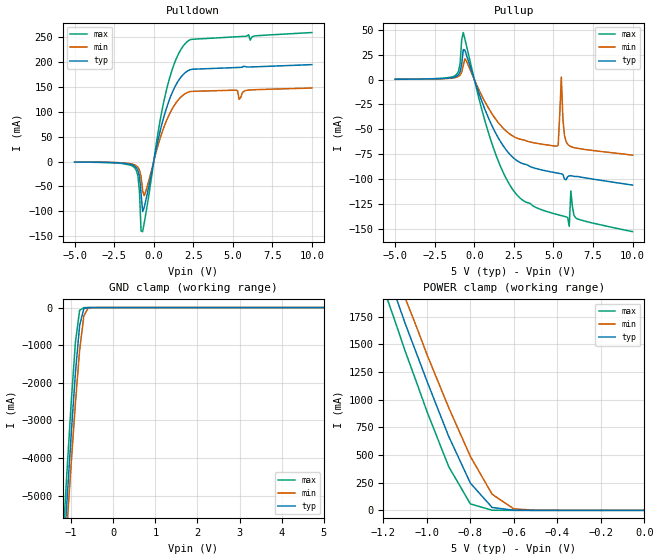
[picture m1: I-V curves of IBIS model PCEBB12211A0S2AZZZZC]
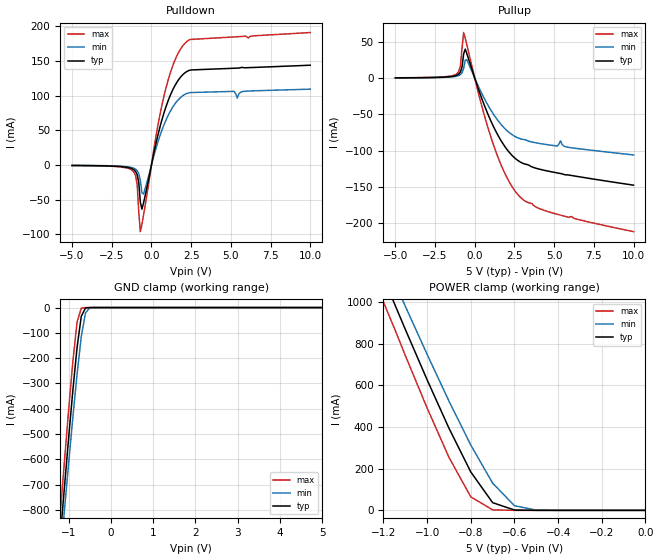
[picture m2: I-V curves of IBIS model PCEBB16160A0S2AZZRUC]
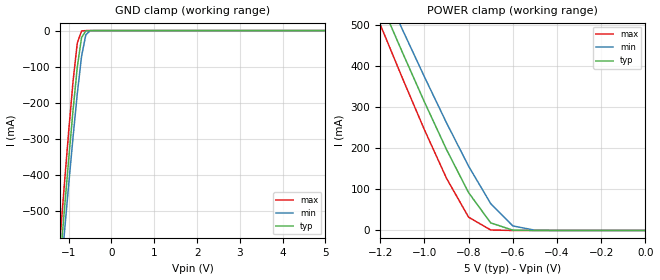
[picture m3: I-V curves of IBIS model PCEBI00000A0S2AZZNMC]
[IBIS Ver]   1.1
[File name]   82375sb.ibs
[File Rev]   1.01
[Date]   08/09/95
[Source]   File originated at Intel Corporation.
[Notes]   The following information corresponds to the PCEB chip.
[Disclaimer]   This information is for modeling purposes only and is not
   guaranteed.
[Disclaimer]   IBIS Open Forum disclaims all warranties. See DISCLAIM.TXT
   in vhdl.org:/pub/IBIS/models for the full disclaimer.
[Component]   82375SB
[Manufacturer]  Intel Corporation
[Package]
|   typ   min   max
R_pkg   159.5m   42.0m   277.0m
L_pkg   12.13nH   9.50nH   14.76nH
C_pkg   1.86pF   1.61pF   2.11pF
[Pin]   signal_name   model_name   R_pin   L_pin   C_pin
1   VDD   POWER
2   VSS   GND
3   LA31   PCEBB12211A0S2AZZZZC
4   LA30   PCEBB12211A0S2AZZZZC
5   LA29   PCEBB12211A0S2AZZZZC
6   LA28   PCEBB12211A0S2AZZZZC
7   LA27   PCEBB12211A0S2AZZZZC
8   LA26   PCEBB12211A0S2AZZZZC
9   VSS   GND
10   LA25   PCEBB12211A0S2AZZZZC
11   LA24   PCEBB12211A0S2AZZZZC
12   LA16   PCEBB12211A0S2AZZZZC
13   LA15   PCEBB12211A0S2AZZZZC
14   VDD   POWER
15   LA14   PCEBB12211A0S2AZZZZC
16   LA13   PCEBB12211A0S2AZZZZC
17   LA12   PCEBB12211A0S2AZZZZC
18   VSS   GND
19   LA11   PCEBB12211A0S2AZZZZC
20   LA10   PCEBB12211A0S2AZZZZC
21   LA9   PCEBB12211A0S2AZZZZC
22   LA8   PCEBB12211A0S2AZZZZC
23   LA7   PCEBB12211A0S2AZZZZC
24   LA6   PCEBB12211A0S2AZZZZC
25   VDD   POWER
26   VSS   GND
27   VSS23   GND
28   LA5   PCEBB12211A0S2AZZZZC
29   LA4   PCEBB12211A0S2AZZZZC
30   LA23   PCEBB12211A0S2AZZZZC
31   LA3   PCEBB12211A0S2AZZZZC
32   LA22   PCEBB12211A0S2AZZZZC
33   LA2   PCEBB12211A0S2AZZZZC
34   LA21   PCEBB12211A0S2AZZZZC
35   VSS   GND
36   LA20   PCEBB12211A0S2AZZZZC
37   SD16   PCEBB16160A0S2AZZRUC
38   SD17   PCEBB16160A0S2AZZRUC
39   VDD   POWER
40   LA19   PCEBB12211A0S2AZZZZC
41   SD18   PCEBB16160A0S2AZZRUC
42   SD19   PCEBB16160A0S2AZZRUC
43   LA18   PCEBB12211A0S2AZZZZC
44   SD20   PCEBB16160A0S2AZZRUC
45   LA17   PCEBB12211A0S2AZZZZC
46   VSS   GND
47   SD21   PCEBB16160A0S2AZZRUC
48   SD22   PCEBB16160A0S2AZZRUC
49   SD23   PCEBB16160A0S2AZZRUC
50   SD24   PCEBB16160A0S2AZZRUC
51   SD25   PCEBB16160A0S2AZZRUC
52   VDD3   POWER
53   VDD   POWER
54   VSS   GND
55   SD8   PCEBB16160A0S2AZZRUC
56   SD26   PCEBB16160A0S2AZZRUC
57   SD9   PCEBB16160A0S2AZZRUC
58   SD27   PCEBB16160A0S2AZZRUC
59   SD28   PCEBB16160A0S2AZZRUC
60   SD10   PCEBB16160A0S2AZZRUC
61   SD11   PCEBB16160A0S2AZZRUC
62   VSS   GND
63   VDD   POWER
64   SD29   PCEBB16160A0S2AZZRUC
65   SD12   PCEBB16160A0S2AZZRUC
66   SD30   PCEBB16160A0S2AZZRUC
67   SD13   PCEBB16160A0S2AZZRUC
68   SD31   PCEBB16160A0S2AZZRUC
69   SD14   PCEBB16160A0S2AZZRUC
70   SD15   PCEBB16160A0S2AZZRUC
71   REQ0#   PCEBI00000A0S2AZZNMC
72   REQ1#   PCEBI00000A0S2AZZNMC
73   REQ2#   PCEBI00000A0S2AZZNMC
74   REQ3#   PCEBI00000A0S2AZZNMC
75   CPUREQ#   PCEBI00000A0S2AZZNMC
76   CPUGNT#   PCEBT08080AXXXXZZKMB
77   VSS23   GND
78   VSS   GND
79   VDD   POWER
80   GNT3#   PCEBT08080AXXXXZZKMB
81   GNT2#   PCEBT08080AXXXXZZKMB
82   GNT1#   PCEBT08080AXXXXZZKMB
83   GNT0#   PCEBT08080AXXXXZZKMB
84   VSS   GND
85   FLUSHREQ#   PCEBT08080AXXXXZZKMB
86   MEMACK#   PCEBI00000A0S2AZZNMC
87   MEMREQ#   PCEBT08080AXXXXZZKMB
88   MEMCS#   PCEBT08080AXXXXZZKMB
89   PIODEC#   PCEBI00000A0S2AZZNMC
90   TEST#   PCEBI00000A0S2AZZNMC
91   PCICLK   PCEBI00000A0S2AZZNMC
92   IDSEL   PCEBI00000A0S2AZZNMC
93   PCIRST#   PCEBI00000A0S2AZZNMC
94   VDD   POWER
95   VSS   GND
96   NC   NC
97   AD31   PCEBB12211A0S2AZZZZC
98   AD30   PCEBB12211A0S2AZZZZC
99   AD29   PCEBB12211A0S2AZZZZC
100   AD28   PCEBB12211A0S2AZZZZC
101   AD27   PCEBB12211A0S2AZZZZC
102   AD26   PCEBB12211A0S2AZZZZC
103   VSS   GND
104   VDD   POWER
105   VDD3   POWER
106   NC   NC
107   AD25   PCEBB12211A0S2AZZZZC
108   AD24   PCEBB12211A0S2AZZZZC
109   C/BE3#   PCEBB12211A0S2AZZZZC
110   AD23   PCEBB12211A0S2AZZZZC
111   AD22   PCEBB12211A0S2AZZZZC
112   AD21   PCEBB12211A0S2AZZZZC
113   VSS   GND
114   AD20   PCEBB12211A0S2AZZZZC
115   AD19   PCEBB12211A0S2AZZZZC
116   VDD   POWER
117   AD18   PCEBB12211A0S2AZZZZC
118   AD17   PCEBB12211A0S2AZZZZC
119   AD16   PCEBB12211A0S2AZZZZC
120   C/BE2#   PCEBB12211A0S2AZZZZC
121   VSS   GND
122   FRAME#   PCEBB12211A0S2AZZZZC
123   IRDY#   PCEBB12211A0S2AZZZZC
124   TRDY#   PCEBB12211A0S2AZZZZC
125   DEVSEL#   PCEBB12211A0S2AZZZZC
126   STOP#   PCEBB12211A0S2AZZZZC
127   PCILOCK#   PCEBB12211A0S2AZZZZC
128   PERR#   PCEBB12211A0S2AZZZZC
129   VSS23   GND
130   VSS   GND
131   VDD   POWER
132   NC   NC
133   NC   NC
134   PAR   PCEBB12211A0S2AZZZZC
135   C/BE1#   PCEBB12211A0S2AZZZZC
136   AD15   PCEBB12211A0S2AZZZZC
137   AD14   PCEBB12211A0S2AZZZZC
138   AD13   PCEBB12211A0S2AZZZZC
139   AD12   PCEBB12211A0S2AZZZZC
140   VSS   GND
141   AD11   PCEBB12211A0S2AZZZZC
142   AD10   PCEBB12211A0S2AZZZZC
143   AD9   PCEBB12211A0S2AZZZZC
144   C/BE0#   PCEBB12211A0S2AZZZZC
145   VDD   POWER
146   AD8   PCEBB12211A0S2AZZZZC
147   AD7   PCEBB12211A0S2AZZZZC
148   AD6   PCEBB12211A0S2AZZZZC
149   VSS   GND
150   AD5   PCEBB12211A0S2AZZZZC
151   AD4   PCEBB12211A0S2AZZZZC
152   AD3   PCEBB12211A0S2AZZZZC
153   AD2   PCEBB12211A0S2AZZZZC
154   AD1   PCEBB12211A0S2AZZZZC
155   AD0   PCEBB12211A0S2AZZZZC
156   VDD3   POWER
157   VDD   POWER
158   VSS   GND
159   STOPGNT#   PCEBT08081AXXXXZZKMB
160   REFRESH#   PCEBI00000A0S2AZZNMC
161   AFLUSH#   PCEBB08080A0S2AZZKMB
162   EISAHOLD   PCEBI00000A1K3KZZNMC
163   EISAHLDA   PCEBO08081AXXXXZZKMB
164   PEREQ#   PCEBT08080AXXXXZZKMB
165   NMFLUSH#   PCEBB08080A0S2AZZKMB
166   LOCK#   PCEBB12211A0S2AZZZZC
167   BCLK   PCEBI00000A0S2AZZNMC
168   IO16#   PCEBB16160A0S2AZZRUC
169   CMD#   PCEBI00000A0S2AZZNMC
170   START#   PCEBB12211A0S2AZZZZC
171   EXRDY   PCEBB12211A0S2AZZZZC
172   EX32#   PCEBB16160A0S2AZZRUC
173   EX16#   PCEBI00000A0S2AZZNMC
174   SLBURST#   PCEBB12211A0S2AZZZZC
175   SDLE3#   PCEBI00000A1K3KZZNMC
176   SDLE2#   PCEBI00000A1K3KZZNMC
177   SDLE1#   PCEBI00000A1K3KZZNMC
178   SDLE0#   PCEBI00000A1K3KZZNMC
179   SDCPYEN01#  PCEBI00000A1K3KZZNMC
180   SDCPYEN02#  PCEBI00000A1K3KZZNMC
181   VDD   POWER
182   VSS   GND
183   VSS23   GND
184   SDCPYEN03#  PCEBI00000A1K3KZZNMC
185   SDCPYEN13#  PCEBI00000A1K3KZZNMC
186   SDCPYUP   PCEBI00000A1K3KZZNMC
187   SDOE0#   PCEBI00000A0S2AZZVTC
188   SDOE1#   PCEBI00000A0S2AZZVTC
189   SDOE2#   PCEBI00000A0S2AZZVTC
190   MSBURST#   PCEBB12211A0S2AZZZZC
191   M/IO#   PCEBB12211A0S2AZZZZC
192   W/R#   PCEBB12211A0S2AZZZZC
193   VDD   POWER
194   VSS   GND
195   SD7   PCEBB16160A0S2AZZRUC
196   SD6   PCEBB16160A0S2AZZRUC
197   SD5   PCEBB16160A0S2AZZRUC
198   SD4   PCEBB16160A0S2AZZRUC
199   SD3   PCEBB16160A0S2AZZRUC
200   VSS   GND
201   SD2   PCEBB16160A0S2AZZRUC
202   SD1   PCEBB16160A0S2AZZRUC
203   SD0   PCEBB16160A0S2AZZRUC
204   BE3#   PCEBB12211A0S2AZZZZC
205   BE2#   PCEBB12211A0S2AZZZZC
206   BE1#   PCEBB12211A0S2AZZZZC
207   BE0#   PCEBB12211A0S2AZZZZC
208   VDD3   POWER
| Models and submodels in the file (9): PCEBB12211A0S2AZZZZC (I/O), PCEBB16160A0S2AZZRUC (I/O), PCEBI00000A0S2AZZNMC (Input), PCEBT08080AXXXXZZKMB (3-state), PCEBT08081AXXXXZZKMB (3-state), PCEBB08080A0S2AZZKMB (I/O), PCEBI00000A1K3KZZNMC (Input), PCEBO08081AXXXXZZKMB (Output), PCEBI00000A0S2AZZVTC (Input)
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[Model]   PCEBB12211A0S2AZZZZC
Model_type   I/O
Vinl = 0.80V
Vinh = 2.00V
|   typ   min   max
C_comp   2.30pF   1.24pF   4.28pF
[Voltage range]   5.000V   4.750V   5.250V
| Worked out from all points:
|   slope of the pulldown table from 0 to 0.75 V, typ, clamps not added: 7.41 ohm
|   slope of the pullup table from 0 to 0.75 V, typ, clamps not added: 22.7 ohm
|   GND clamp passes 1 mA (typ) near -0.60 V on its own axis
|   POWER clamp passes 1 mA (typ) near -0.60 V on its own axis
[Pulldown]
|   Voltage   I(typ)   I(min)   I(max)
-5V       -890.7uA   -743uA     -1.06mA
-1.2V     -9.25mA    -6.74mA    -12.88mA
-1V       -17.48mA   -11.42mA   -28.66mA
-900mV    -29.53mA   -16.99mA   -60.56mA
-800mV    -63.92mA   -29.97mA   -139.1mA
-700mV    -100.2mA   -58.6mA    -140.5mA
-500mV    -77.85mA   -59.44mA   -104.7mA
700mV     96.11mA    73.36mA    129.1mA
1.9V      175.4mA    134.1mA    232.9mA
5.2V      188.3mA    143mA      249.9mA
5.4V      188.6mA    124.6mA    250.3mA
10V       194.2mA    147.4mA    258.5mA
[GND_clamp]
|   Voltage   I(typ)   I(min)   I(max)
-5V       -81.6A     -78.35A    -84.8A
-1.2V     -6.97A     -7.58A     -6.28A
-1.15V    -6.06A     -6.71A     -5.32A
-1.1V     -5.14A     -5.84A     -4.36A
-1.05V    -4.26A     -4.99A     -3.45A
-1V       -3.38A     -4.15A     -2.53A
-900mV    -1.74A     -2.55A     -927.5mA
-800mV    -472.5mA   -1.14A     -74.47mA
-700mV    -28.92mA   -226mA     -1.24mA
-600mV    -843.5uA   -14.28mA   -18.43uA
-500mV    -23.92uA   -655.4uA   -313.9nA
5V        250.3pA    584.7nA    101.1pA
[Pullup]
|   Voltage   I(typ)   I(min)   I(max)
-5V       293.3uA    237.1uA    363.8uA
-1.2V     2.79mA     1.97mA     4.06mA
-700mV    30.04mA    14.11mA    47.11mA
1V        -42.33mA   -31.45mA   -58.75mA
2.6V      -80.22mA   -58.07mA   -114mA
5.3V      -93.96mA   -65.88mA   -135.6mA
5.5V      -94.54mA   2.37mA     -136.4mA
5.6V      -95.16mA   -39.98mA   -136.8mA
5.9V      -97.41mA   -64.82mA   -138.3mA
6.1V      -96.41mA   -67.24mA   -111.7mA
6.5V      -97.17mA   -68.91mA   -139.7mA
10V       -105.8mA   -75.88mA   -152.5mA
[POWER_clamp]
|   Voltage   I(typ)   I(min)   I(max)
-5V       24.2A      23.26A     25.12A
-1.2V     2.24A      2.43A      2.01A
-1.15V    1.97A      2.18A      1.73A
-1.1V     1.69A      1.92A      1.44A
-1.05V    1.43A      1.67A      1.17A
-1V       1.17A      1.41A      895.5mA
-900mV    669.9mA    929.9mA    396.4mA
-800mV    245.9mA    487.2mA    58.03mA
-700mV    25.96mA    145.5mA    1.22mA
-600mV    834.2uA    13.53mA    17.66uA
-500mV    23.11uA    648.3uA    252.3nA
0V        -74.56pA   734.7pA    -66.7pA
[Ramp]
|   typ   min   max
dV/dt_r   1.95V/903.86ps   1.64V/1.29ns   2.27V/541.37ps
dV/dt_f   2.61V/1.18ns   2.36V/1.39ns   2.84V/854.23ps
[Model]   PCEBB16160A0S2AZZRUC
Model_type   I/O
Vinl = 0.80V
Vinh = 2.00V
|   typ   min   max
C_comp   2.30pF   1.24pF   4.28pF
[Voltage range]   5.000V   4.750V   5.250V
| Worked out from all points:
|   slope of the pulldown table from 0 to 0.75 V, typ, clamps not added: 10.4 ohm
|   slope of the pullup table from 0 to 0.75 V, typ, clamps not added: 16.5 ohm
|   GND clamp passes 1 mA (typ) near -0.56 V on its own axis
|   POWER clamp passes 1 mA (typ) near -0.56 V on its own axis
[Pulldown]
|   Voltage   I(typ)   I(min)   I(max)
-5V       -602.7uA   -494.8uA   -728.2uA
-1.2V     -5.43mA    -3.84mA    -7.83mA
-900mV    -13.79mA   -8.05mA    -27.84mA
-800mV    -25.05mA   -12.19mA   -67.49mA
-700mV    -53.38mA   -21.96mA   -95.94mA
-600mV    -63.55mA   -39.96mA   -85.32mA
-500mV    -54.69mA   -41.71mA   -72.32mA
300mV     32.73mA    25.21mA    43.5mA
800mV     75.88mA    58.5mA     100.5mA
1.4V      111.1mA    85.55mA    146.6mA
2V        130.8mA    100.3mA    172.6mA
10V       143.8mA    109.4mA    190.9mA
[GND_clamp]
|   Voltage   I(typ)   I(min)   I(max)
-5V       -8.95A     -8.62A     -9.27A
-1.2V     -913.1mA   -994mA     -820.5mA
-1.15V    -813mA     -898.9mA   -715.5mA
-1.1V     -712.8mA   -803.7mA   -610.4mA
-1V       -517mA     -616.8mA   -406.2mA
-900mV    -329mA     -435.4mA   -214.4mA
-800mV    -157.9mA   -263.9mA   -58.06mA
-700mV    -34.32mA   -114.5mA   -2.37mA
-600mV    -1.64mA    -21.16mA   -35.86uA
-500mV    -46.79uA   -1.28mA    -550.5nA
5V        292.5pA    1.17uA     139.7pA
[Pullup]
|   Voltage   I(typ)   I(min)   I(max)
-5V       388.2uA    311.3uA    484.3uA
-1.2V     3.44mA     2.39mA     5.07mA
-900mV    8.62mA     4.98mA     17.3mA
-700mV    33.37mA    13.55mA    62.81mA
-500mV    33.88mA    25.31mA    46.05mA
1.1V      -63.03mA   -47.06mA   -86.78mA
1.9V      -94.34mA   -69.58mA   -131.4mA
2.7V      -113.2mA   -82.13mA   -160.1mA
4.5V      -127.5mA   -91.43mA   -183mA
5.4V      -131.4mA   -86.42mA   -188.7mA
5.8V      -133.2mA   -94.89mA   -191mA
10V       -147.4mA   -105.8mA   -211.5mA
[POWER_clamp]
|   Voltage   I(typ)   I(min)   I(max)
-5V       11.08A     10.67A     11.48A
-1.2V     1.12A      1.22A      1A
-1.15V    993.2mA    1.1A       874mA
-1.1V     869.2mA    980.4mA    743.9mA
-1.05V    748mA      864.7mA    617.5mA
-1V       626.8mA    749mA      491.2mA
-900mV    394.5mA    524.6mA    254.5mA
-800mV    184.3mA    313.3mA    64.76mA
-700mV    36.97mA    131mA      2.38mA
-600mV    1.64mA     22.21mA    35.3uA
-500mV    46.2uA     1.28mA     504.6nA
0V        -113.2pA   1.2nA      -85.56pA
[Ramp]
|   typ   min   max
dV/dt_r   2.20V/325.49ps   1.92V/481.82ps   2.49V/210.50ps
dV/dt_f   2.46V/518.73ps   2.22V/886.64ps   2.70V/300.17ps
[Model]   PCEBI00000A0S2AZZNMC
Model_type   Input
Vinl = 0.80V
Vinh = 2.00V
|   typ   min   max
C_comp   2.30pF   1.24pF   4.28pF
[Voltage range]   5.000V   4.750V   5.250V
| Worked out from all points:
|   GND clamp passes 1 mA (typ) near -0.60 V on its own axis
|   POWER clamp passes 1 mA (typ) near -0.60 V on its own axis
[GND_clamp]
|   Voltage   I(typ)   I(min)   I(max)
-5V       -6.39A     -6.15A     -6.62A
-1.2V     -638.8mA   -695.3mA   -574.2mA
-1.15V    -567.3mA   -627.4mA   -499.2mA
-1.1V     -495.8mA   -559.4mA   -424.2mA
-1.05V    -426mA     -492.7mA   -351.4mA
-1V       -356.1mA   -426mA     -278.6mA
-900mV    -222.5mA   -296.9mA   -142.5mA
-800mV    -102mA     -175.4mA   -34.73mA
-700mV    -19.37mA   -71.48mA   -1.2mA
-600mV    -825.8uA   -11.45mA   -18.06uA
-500mV    -23.54uA   -644.6uA   -285.6nA
5V        222.4pA    584.3nA    78.76pA
[POWER_clamp]
|   Voltage   I(typ)   I(min)   I(max)
-5V       5.54A      5.33A      5.74A
-1.2V     558.6mA    608.1mA    502mA
-1.15V    496.6mA    549.1mA    437mA
-1.1V     434.6mA    490.2mA    371.9mA
-1.05V    374mA      432.3mA    308.8mA
-1V       313.4mA    374.5mA    245.6mA
-900mV    197.3mA    262.3mA    127.3mA
-800mV    92.17mA    156.6mA    32.38mA
-700mV    18.49mA    65.49mA    1.19mA
-600mV    820.1uA    11.11mA    17.65uA
-500mV    23.1uA     640.3uA    252.3nA
0V        -64.4pA    638.6pA    -51.27pA
[Ramp]
|   typ   min   max
dV/dt_r   0.00V/0.00s   0.00V/0.00s   0.00V/0.00s
dV/dt_f   0.00V/0.00s   0.00V/0.00s   0.00V/0.00s
